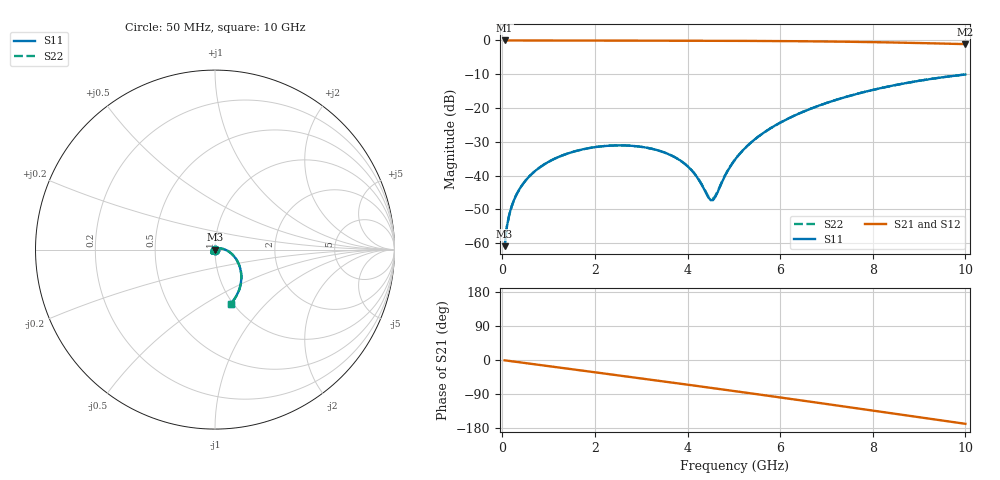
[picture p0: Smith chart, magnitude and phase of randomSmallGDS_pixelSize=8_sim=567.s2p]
! freq	dB(S11)	phase(S11)	dB(S12)	phase(S12)
!  dB(S21)	phase(S21)	dB(S22)	phase(S22)
!S-par simulation data
#  GHz  S  DB  R 50
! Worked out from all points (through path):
!   200 points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, 50 MHz to 10 GHz, reference 50 ohm
!   highest |S21| = 0.00 dB at 50 MHz (marker M1); lowest = -1.1 dB at 10 GHz (marker M2)
!   group delay of S21, straight-line fit = 46.8 ps
!   lowest |S11| = -60.9 dB at 50 MHz (marker M3), VSWR 1.00, Z = 50 - j0.0901 ohm
!   |S11| at or under -10 dB: start of sweep to end of sweep
!   |S22| runs from -60.9 to -10.1 dB; largest |S21 - S12| = 0
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0.05  -60.90 -90.9  -0.00 -0.8  -0.00 -0.8  -60.91 -90.8
0.1  -55.03 -93.0  -0.00 -1.6  -0.00 -1.6  -55.03 -93.0
0.2  -49.23 -95.1  -0.00 -3.3  -0.00 -3.3  -49.23 -95.1
0.35  -44.52 -97.3  -0.00 -5.7  -0.00 -5.7  -44.52 -97.3
0.5  -41.53 -99.7  -0.01 -8.1  -0.01 -8.1  -41.53 -99.7
1  -35.93 -108.0  -0.02 -16.2  -0.02 -16.2  -35.93 -108.1
1.75  -32.21 -121.0  -0.03 -28.4  -0.03 -28.4  -32.21 -121.0
2.6  -31.07 -136.0  -0.05 -42.1  -0.05 -42.1  -31.07 -136.2
3.4  -32.70 -151.9  -0.06 -55.2  -0.06 -55.2  -32.70 -152.2
3.75  -34.76 -160.7  -0.07 -61.0  -0.07 -61.0  -34.75 -161.1
4.05  -37.89 -171.8  -0.08 -65.9  -0.08 -65.9  -37.87 -172.5
4.25  -41.40 174.3  -0.09 -69.2  -0.09 -69.2  -41.33 173.4
4.5  -47.29 119.0  -0.09 -73.4  -0.09 -73.4  -46.97 118.5
4.6  -46.36 80.4  -0.10 -75.1  -0.10 -75.1  -46.07 81.1
4.85  -39.02 35.9  -0.11 -79.3  -0.11 -79.3  -38.95 36.8
5.05  -34.85 23.8  -0.12 -82.6  -0.12 -82.6  -34.82 24.4
5.35  -30.48 13.3  -0.14 -87.7  -0.14 -87.7  -30.46 13.7
5.7  -26.82 4.5  -0.16 -93.6  -0.16 -93.6  -26.81 4.8
6.7  -20.00 -15.6  -0.26 -110.9  -0.26 -110.9  -19.99 -15.4
8.35  -13.59 -45.4  -0.58 -139.7  -0.58 -139.7  -13.59 -45.3
9.15  -11.62 -59.4  -0.81 -153.7  -0.81 -153.7  -11.61 -59.3
10  -10.08 -73.8  -1.09 -168.4  -1.09 -168.4  -10.08 -73.7
